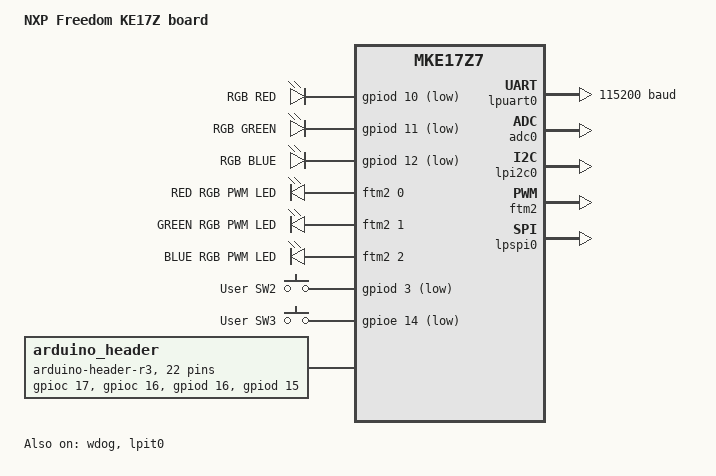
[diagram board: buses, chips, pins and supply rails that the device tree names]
/*
 * Copyright 2024 NXP
 *
 * SPDX-License-Identifier: Apache-2.0
 */

/dts-v1/;

#include <nxp/nxp_ke17z.dtsi>
#include "frdm_ke17z-pinctrl.dtsi"
#include <zephyr/dt-bindings/gpio/arduino-header-r3.h>
#include <zephyr/dt-bindings/input/input-event-codes.h>
#include <zephyr/dt-bindings/pwm/pwm.h>

/ {
	model = "NXP Freedom KE17Z board";
	compatible = "nxp,frdm-ke17z", "nxp,ke17z", "nxp,mke17z7";

	aliases {
		watchdog0 = &wdog;
		led0 = &red_led;
		led1 = &green_led;
		led2 = &blue_led;
		sw0 = &user_button_0;
		sw1 = &user_button_1;
		pwm-led0 = &red_pwm_led;
		pwm-led1 = &green_pwm_led;
		pwm-led2 = &blue_pwm_led;
		mcuboot-button0 = &user_button_0;
	};

	chosen {
		zephyr,sram = &sram_u;
		zephyr,flash = &flash0;
		zephyr,code-partition = &slot0_partition;
		zephyr,uart-mcumgr = &lpuart0;
		zephyr,console = &lpuart0;
		zephyr,shell-uart = &lpuart0;
	};

	leds {
		compatible = "gpio-leds";

		red_led: led_0 {
			gpios = <&gpiod 10 GPIO_ACTIVE_LOW>;
			label = "RGB RED";
		};

		green_led: led_1 {
			gpios = <&gpiod 11 GPIO_ACTIVE_LOW>;
			label = "RGB GREEN";
		};

		blue_led: led_2 {
			gpios = <&gpiod 12 GPIO_ACTIVE_LOW>;
			label = "RGB BLUE";
		};
	};

	pwmleds {
		compatible = "pwm-leds";

		red_pwm_led: led_pwm_0 {
			pwms = <&ftm2 0 PWM_HZ(20) PWM_POLARITY_INVERTED>;
			label = "RED RGB PWM LED";
		};

		green_pwm_led: led_pwm_1 {
			pwms = <&ftm2 1 PWM_MSEC(20) PWM_POLARITY_INVERTED>;
			label = "GREEN RGB PWM LED";
		};

		blue_pwm_led: led_pwm_2 {
			pwms = <&ftm2 2 PWM_MSEC(20) PWM_POLARITY_INVERTED>;
			label = "BLUE RGB PWM LED";
		};
	};

	gpio_keys {
		compatible = "gpio-keys";

		user_button_0: button_0 {
			label = "User SW2";
			gpios = <&gpiod 3 GPIO_ACTIVE_LOW>;
			zephyr,code = <INPUT_KEY_0>;
		};

		user_button_1: button_1 {
			label = "User SW3";
			gpios = <&gpioe 14 GPIO_ACTIVE_LOW>;
			zephyr,code = <INPUT_KEY_1>;
		};
	};

	arduino_header: arduino-connector {
		compatible = "arduino-header-r3";
		#gpio-cells = <2>;
		gpio-map-mask = <0xffffffff 0xffffffc0>;
		gpio-map-pass-thru = <0 0x3f>;
		gpio-map = <ARDUINO_HEADER_R3_A0 0 &gpioc 17 0>,
			   <ARDUINO_HEADER_R3_A1 0 &gpioc 16 0>,
			   <ARDUINO_HEADER_R3_A2 0 &gpiod 16 0>,
			   <ARDUINO_HEADER_R3_A3 0 &gpiod 15 0>,
			   <ARDUINO_HEADER_R3_A4 0 &gpioa 1 0>,
			   <ARDUINO_HEADER_R3_A5 0 &gpioa 0 0>,
			   <ARDUINO_HEADER_R3_D0 0 &gpiod 17 0>,
			   <ARDUINO_HEADER_R3_D1 0 &gpioe 12 0>,
			   <ARDUINO_HEADER_R3_D2 0 &gpiod 8 0>,
			   <ARDUINO_HEADER_R3_D3 0 &gpiod 9 0>,
			   <ARDUINO_HEADER_R3_D4 0 &gpioc 14 0>,
			   <ARDUINO_HEADER_R3_D5 0 &gpioa 15 0>,
			   <ARDUINO_HEADER_R3_D6 0 &gpioa 17 0>,
			   <ARDUINO_HEADER_R3_D7 0 &gpioa 14 0>,
			   <ARDUINO_HEADER_R3_D8 0 &gpioe 11 0>,
			   <ARDUINO_HEADER_R3_D9 0 &gpiob 11 0>,
			   <ARDUINO_HEADER_R3_D10 0 &gpiob 5 0>,
			   <ARDUINO_HEADER_R3_D11 0 &gpiob 4 0>,
			   <ARDUINO_HEADER_R3_D12 0 &gpiob 3 0>,
			   <ARDUINO_HEADER_R3_D13 0 &gpiob 2 0>,
			   <ARDUINO_HEADER_R3_D14 0 &gpioa 16 0>,
			   <ARDUINO_HEADER_R3_D15 0 &gpiob 8 0>;
	};
};

&idle {
	min-residency-us = <1>;
};

&stop {
	min-residency-us = <20000>;
	exit-latency-us = <13>;
};

&lpuart0 {
	dmas = <&edma 1 2>, <&edma 2 3>;
	dma-names = "rx", "tx";
	status = "okay";
	current-speed = <115200>;
	pinctrl-0 = <&lpuart0_default>;
	pinctrl-names = "default";
};

&adc0 {
	status = "okay";
	sample-time = <12>;
	vref-mv = <3300>;
	pinctrl-0 = <&adc0_default>;
	pinctrl-names = "default";
};

&lpi2c0 {
	status = "okay";
	pinctrl-0 = <&lpi2c0_default>;
	pinctrl-names = "default";
};

&gpiod {
	status = "okay";
};

&gpioe {
	status = "okay";
};

&ftm2 {
	status = "okay";
	compatible = "nxp,ftm-pwm";
	#pwm-cells = <3>;
	clocks = <&scg KINETIS_SCG_SIRC_CLK>;
	prescaler = <128>;
	pinctrl-0 = <&ftm2_default>;
	pinctrl-names = "default";
	clock-source = "system";
};

&flash0 {
	partitions {
		compatible = "fixed-partitions";
		#address-cells = <1>;
		#size-cells = <1>;

		/*
		 * Partition sizes must be aligned
		 * to the flash memory sector size of 2KB.
		 */
		boot_partition: partition@0 {
			label = "mcuboot";
			reg = <0x0 DT_SIZE_K(44)>;
		};

		slot0_partition: partition@b000 {
			label = "image-0";
			reg = <0xb000 DT_SIZE_K(100)>;
		};

		slot1_partition: partition@24000 {
			label = "image-1";
			reg = <0x24000 DT_SIZE_K(100)>;
		};

		storage_partition: partition@3d000 {
			label = "storage";
			reg = <0x3d000 DT_SIZE_K(12)>;
		};
	};
};

&lpspi0 {
	dmas = <&edma 0 14>, <&edma 1 15>;
	dma-names = "rx", "tx";
	status = "okay";
	pinctrl-0 = <&lpspi0_default>;
	pinctrl-names = "default";
};

&edma {
	status = "okay";
};

&wdog {
	status = "okay";
};

&lpit0 {
	status = "okay";
};
